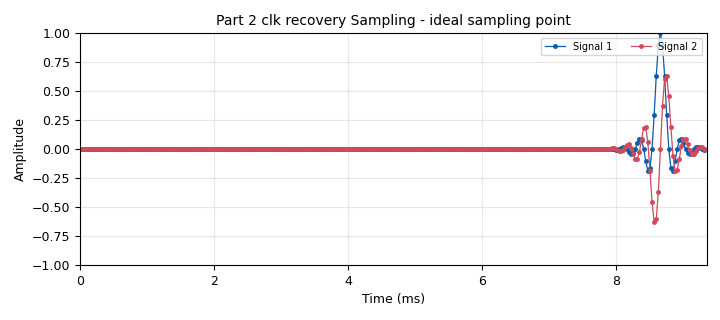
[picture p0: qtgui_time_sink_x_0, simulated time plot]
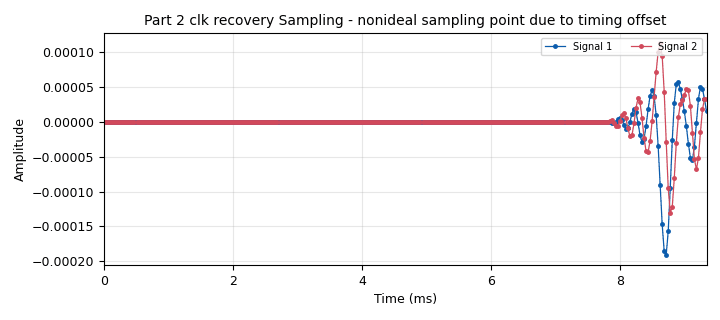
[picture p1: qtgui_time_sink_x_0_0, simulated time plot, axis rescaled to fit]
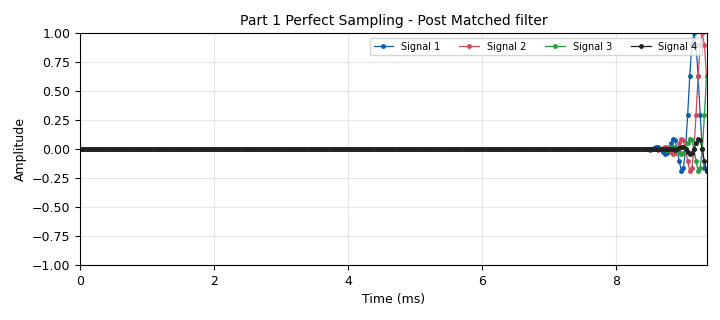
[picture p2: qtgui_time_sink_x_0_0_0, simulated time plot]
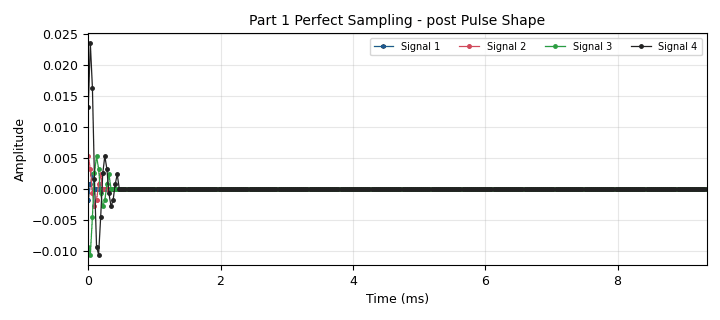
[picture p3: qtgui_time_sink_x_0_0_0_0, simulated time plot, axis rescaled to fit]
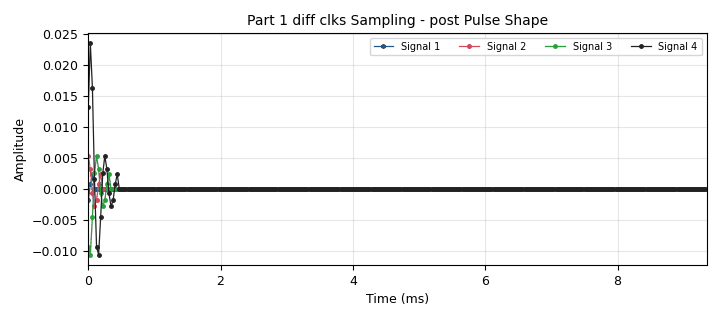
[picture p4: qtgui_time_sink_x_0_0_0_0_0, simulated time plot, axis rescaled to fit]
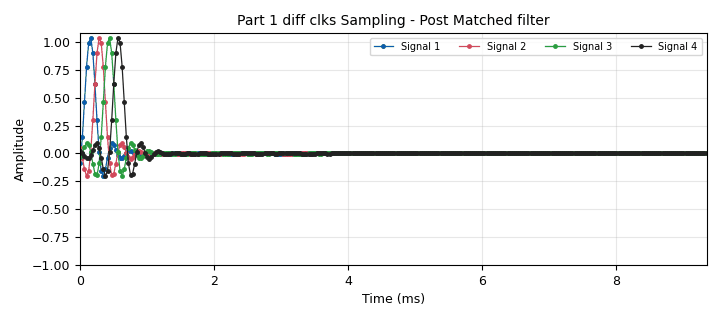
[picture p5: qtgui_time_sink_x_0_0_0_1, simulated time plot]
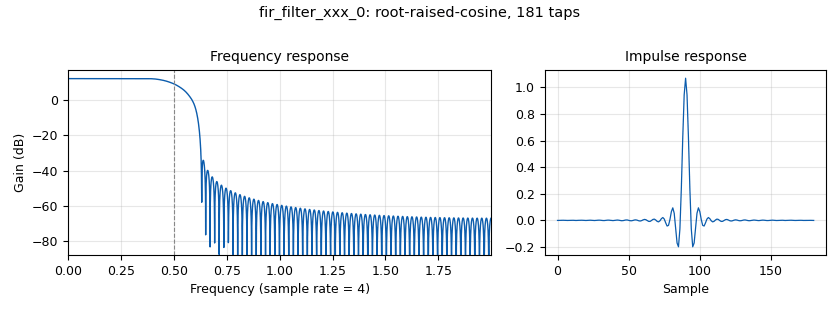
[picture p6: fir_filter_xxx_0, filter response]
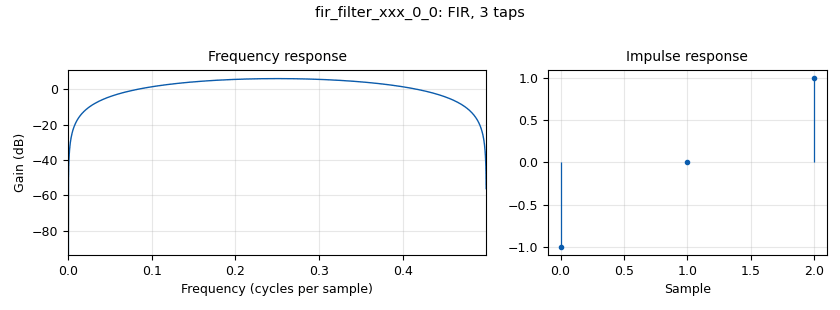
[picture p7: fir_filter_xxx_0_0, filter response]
options:
  parameters:
    author: engineerang
    generate_options: qt_gui
    id: symbol_sampling
    output_language: python
    title: Not titled yet
  states: {}

blocks:
- name: eb
  id: variable
  parameters:
    value: '0.25'
  states: {}
- name: ntaps
  id: variable
  parameters:
    value: '45'
  states: {}
- name: rate
  id: variable
  parameters:
    value: '1'
  states: {}
- name: rrc_rx
  id: variable
  parameters:
    value: firdes.root_raised_cosine(sps, sps, 1, eb, sps*ntaps)
  states: {}
- name: rrc_tx
  id: variable
  parameters:
    value: firdes.root_raised_cosine(1, sps, 1, eb, ntaps)
  states: {}
- name: samp_rate
  id: variable
  parameters:
    value: '32000'
  states: {}
- name: sps
  id: variable
  parameters:
    value: '4'
  states: {}
- name: blocks_delay_0
  id: blocks_delay
  parameters:
    delay: '1'
    type: float
  states: {}
- name: blocks_delay_0_0
  id: blocks_delay
  parameters:
    delay: '1'
    type: float
  states: {}
- name: blocks_throttle_0
  id: blocks_throttle
  parameters:
    samples_per_second: samp_rate
    type: float
  states: {}
- name: blocks_throttle_0_0
  id: blocks_throttle
  parameters:
    samples_per_second: samp_rate
    type: float
  states: {}
- name: blocks_throttle_0_0_0
  id: blocks_throttle
  parameters:
    samples_per_second: samp_rate
    type: float
  states: {}
- name: blocks_throttle_0_0_0_0
  id: blocks_throttle
  parameters:
    samples_per_second: samp_rate
    type: float
  states: {}
- name: blocks_throttle_0_0_1
  id: blocks_throttle
  parameters:
    samples_per_second: samp_rate
    type: float
  states: {}
- name: blocks_throttle_0_0_1_0
  id: blocks_throttle
  parameters:
    samples_per_second: samp_rate
    type: float
  states: {}
- name: blocks_throttle_0_0_2
  id: blocks_throttle
  parameters:
    samples_per_second: samp_rate
    type: float
  states: {}
- name: blocks_throttle_0_0_2_0
  id: blocks_throttle
  parameters:
    samples_per_second: samp_rate
    type: float
  states: {}
- name: blocks_throttle_0_0_3
  id: blocks_throttle
  parameters:
    samples_per_second: samp_rate
    type: float
  states: {}
- name: blocks_vector_source_x_0
  id: blocks_vector_source_x
  parameters:
    repeat: 'True'
    type: float
    vector: 49*[0,] + [1,] + 50*[0,]
  states: {}
- name: blocks_vector_source_x_0_0
  id: blocks_vector_source_x
  parameters:
    repeat: 'True'
    type: float
    vector: 49*[0,] + [1,] + 50*[0,]
  states: {}
- name: blocks_vector_source_x_0_0_0
  id: blocks_vector_source_x
  parameters:
    repeat: 'True'
    type: float
    vector: 50*[0,] + [1,] + 49*[0,]
  states: {}
- name: blocks_vector_source_x_0_0_0_0
  id: blocks_vector_source_x
  parameters:
    repeat: 'True'
    type: float
    vector: 50*[0,] + [1,] + 49*[0,]
  states: {}
- name: blocks_vector_source_x_0_0_1
  id: blocks_vector_source_x
  parameters:
    repeat: 'True'
    type: float
    vector: 51*[0,] + [1,] + 48*[0,]
  states: {}
- name: blocks_vector_source_x_0_0_1_0
  id: blocks_vector_source_x
  parameters:
    repeat: 'True'
    type: float
    vector: 51*[0,] + [1,] + 48*[0,]
  states: {}
- name: blocks_vector_source_x_0_0_2
  id: blocks_vector_source_x
  parameters:
    repeat: 'True'
    type: float
    vector: 52*[0,] + [1,] + 47*[0,]
  states: {}
- name: blocks_vector_source_x_0_0_2_0
  id: blocks_vector_source_x
  parameters:
    repeat: 'True'
    type: float
    vector: 52*[0,] + [1,] + 47*[0,]
  states: {}
- name: blocks_vector_source_x_0_0_3
  id: blocks_vector_source_x
  parameters:
    repeat: 'True'
    type: float
    vector: 49*[0,] + [1,] + 50*[0,]
  states: {}
- name: fir_filter_xxx_0
  id: fir_filter_xxx
  parameters:
    decim: '1'
    taps: rrc_rx
    type: fff
  states: {}
- name: fir_filter_xxx_0_0
  id: fir_filter_xxx
  parameters:
    decim: '1'
    taps: (-1,0,1)
    type: fff
  states: {}
- name: fir_filter_xxx_0_0_0
  id: fir_filter_xxx
  parameters:
    decim: '1'
    taps: (-1,0,1)
    type: fff
  states: {}
- name: fir_filter_xxx_0_1
  id: fir_filter_xxx
  parameters:
    decim: '1'
    taps: rrc_rx
    type: fff
  states: {}
- name: fir_filter_xxx_0_1_0
  id: fir_filter_xxx
  parameters:
    decim: '1'
    taps: rrc_rx
    type: fff
  states: {}
- name: fir_filter_xxx_0_1_0_0
  id: fir_filter_xxx
  parameters:
    decim: '1'
    taps: rrc_rx
    type: fff
  states: {}
- name: fir_filter_xxx_0_1_1
  id: fir_filter_xxx
  parameters:
    decim: '1'
    taps: rrc_rx
    type: fff
  states: {}
- name: fir_filter_xxx_0_1_1_0
  id: fir_filter_xxx
  parameters:
    decim: '1'
    taps: rrc_rx
    type: fff
  states: {}
- name: fir_filter_xxx_0_1_2
  id: fir_filter_xxx
  parameters:
    decim: '1'
    taps: rrc_rx
    type: fff
  states: {}
- name: fir_filter_xxx_0_1_2_0
  id: fir_filter_xxx
  parameters:
    decim: '1'
    taps: rrc_rx
    type: fff
  states: {}
- name: fir_filter_xxx_0_1_3
  id: fir_filter_xxx
  parameters:
    decim: '1'
    taps: rrc_rx
    type: fff
  states: {}
- name: fir_filter_xxx_0_2
  id: fir_filter_xxx
  parameters:
    decim: '1'
    taps: rrc_rx
    type: fff
  states: {}
- name: interp_fir_filter_xxx_0
  id: interp_fir_filter_xxx
  parameters:
    interp: sps
    taps: rrc_tx
    type: fff
  states: {}
- name: interp_fir_filter_xxx_0_0
  id: interp_fir_filter_xxx
  parameters:
    interp: sps
    taps: rrc_tx
    type: fff
  states: {}
- name: interp_fir_filter_xxx_0_0_0
  id: interp_fir_filter_xxx
  parameters:
    interp: sps
    taps: rrc_tx
    type: fff
  states: {}
- name: interp_fir_filter_xxx_0_0_0_0
  id: interp_fir_filter_xxx
  parameters:
    interp: sps
    taps: rrc_tx
    type: fff
  states: {}
- name: interp_fir_filter_xxx_0_0_1
  id: interp_fir_filter_xxx
  parameters:
    interp: sps
    taps: rrc_tx
    type: fff
  states: {}
- name: interp_fir_filter_xxx_0_0_1_0
  id: interp_fir_filter_xxx
  parameters:
    interp: sps
    taps: rrc_tx
    type: fff
  states: {}
- name: interp_fir_filter_xxx_0_0_2
  id: interp_fir_filter_xxx
  parameters:
    interp: sps
    taps: rrc_tx
    type: fff
  states: {}
- name: interp_fir_filter_xxx_0_0_2_0
  id: interp_fir_filter_xxx
  parameters:
    interp: sps
    taps: rrc_tx
    type: fff
  states: {}
- name: interp_fir_filter_xxx_0_0_3
  id: interp_fir_filter_xxx
  parameters:
    interp: sps
    taps: rrc_tx
    type: fff
  states: {}
- name: pfb_arb_resampler_xxx_0
  id: pfb_arb_resampler_xxx
  parameters:
    atten: '100'
    nfilts: '32'
    rrate: '1'
    type: fff
  states: {}
- name: pfb_arb_resampler_xxx_0_0
  id: pfb_arb_resampler_xxx
  parameters:
    atten: '100'
    nfilts: '32'
    rrate: '1.25'
    type: fff
  states: {}
- name: pfb_arb_resampler_xxx_1
  id: pfb_arb_resampler_xxx
  parameters:
    atten: '100'
    nfilts: '32'
    type: ccf
  states: {state: disabled}
- name: pfb_arb_resampler_xxx_2
  id: pfb_arb_resampler_xxx
  parameters:
    atten: '100'
    nfilts: '32'
    rrate: '1.125'
    type: fff
  states: {}
- name: pfb_arb_resampler_xxx_2_0
  id: pfb_arb_resampler_xxx
  parameters:
    atten: '100'
    nfilts: '32'
    rrate: '1.125'
    type: fff
  states: {}
- name: pfb_arb_resampler_xxx_2_1
  id: pfb_arb_resampler_xxx
  parameters:
    atten: '100'
    nfilts: '32'
    rrate: '1.125'
    type: fff
  states: {}
- name: pfb_arb_resampler_xxx_2_2
  id: pfb_arb_resampler_xxx
  parameters:
    atten: '100'
    nfilts: '32'
    rrate: '1.125'
    type: fff
  states: {}
- name: qtgui_time_sink_x_0
  id: qtgui_time_sink_x
  parameters:
    gui_hint: 2,0,1,1
    marker1: '0'
    marker2: '0'
    name: Part 2 clk recovery Sampling - ideal sampling point
    nconnections: '2'
    size: '300'
    srate: samp_rate
    tr_mode: qtgui.TRIG_MODE_AUTO
    type: float
  states: {}
- name: qtgui_time_sink_x_0_0
  id: qtgui_time_sink_x
  parameters:
    gui_hint: 2,1,1,1
    marker1: '0'
    marker2: '0'
    name: Part 2 clk recovery Sampling - nonideal sampling point due to timing offset
    nconnections: '2'
    size: '300'
    srate: samp_rate
    tr_mode: qtgui.TRIG_MODE_AUTO
    type: float
  states: {}
- name: qtgui_time_sink_x_0_0_0
  id: qtgui_time_sink_x
  parameters:
    gui_hint: 0,1,1,1
    marker1: '0'
    marker2: '0'
    marker3: '0'
    marker4: '0'
    name: '"Part 1 Perfect Sampling - Post Matched filter"'
    nconnections: '4'
    size: '300'
    srate: samp_rate
    tr_mode: qtgui.TRIG_MODE_AUTO
    type: float
    update_time: '0.01'
  states: {}
- name: qtgui_time_sink_x_0_0_0_0
  id: qtgui_time_sink_x
  parameters:
    gui_hint: 0,0,1,1
    marker1: '0'
    marker2: '0'
    marker3: '0'
    marker4: '0'
    name: '"Part 1 Perfect Sampling - post Pulse Shape"'
    nconnections: '4'
    size: '300'
    srate: samp_rate
    tr_mode: qtgui.TRIG_MODE_AUTO
    type: float
  states: {}
- name: qtgui_time_sink_x_0_0_0_0_0
  id: qtgui_time_sink_x
  parameters:
    gui_hint: 1,0,1,1
    marker1: '0'
    marker2: '0'
    marker3: '0'
    marker4: '0'
    name: '"Part 1 diff clks Sampling - post Pulse Shape"'
    nconnections: '4'
    size: '300'
    srate: samp_rate
    tr_mode: qtgui.TRIG_MODE_AUTO
    type: float
  states: {}
- name: qtgui_time_sink_x_0_0_0_1
  id: qtgui_time_sink_x
  parameters:
    gui_hint: 1,1,1,1
    marker1: '0'
    marker2: '0'
    marker3: '0'
    marker4: '0'
    name: '"Part 1 diff clks Sampling - Post Matched filter"'
    nconnections: '4'
    size: '300'
    srate: samp_rate
    tr_mode: qtgui.TRIG_MODE_AUTO
    type: float
    update_time: '0.01'
  states: {}

connections:
- [blocks_delay_0, '0', qtgui_time_sink_x_0, '0']
- [blocks_delay_0_0, '0', qtgui_time_sink_x_0_0, '0']
- [blocks_throttle_0, '0', interp_fir_filter_xxx_0, '0']
- [blocks_throttle_0_0, '0', interp_fir_filter_xxx_0_0, '0']
- [blocks_throttle_0_0_0, '0', interp_fir_filter_xxx_0_0_0, '0']
- [blocks_throttle_0_0_0_0, '0', interp_fir_filter_xxx_0_0_0_0, '0']
- [blocks_throttle_0_0_1, '0', interp_fir_filter_xxx_0_0_1, '0']
- [blocks_throttle_0_0_1_0, '0', interp_fir_filter_xxx_0_0_1_0, '0']
- [blocks_throttle_0_0_2, '0', interp_fir_filter_xxx_0_0_2, '0']
- [blocks_throttle_0_0_2_0, '0', interp_fir_filter_xxx_0_0_2_0, '0']
- [blocks_throttle_0_0_3, '0', interp_fir_filter_xxx_0_0_3, '0']
- [blocks_vector_source_x_0, '0', blocks_throttle_0, '0']
- [blocks_vector_source_x_0_0, '0', blocks_throttle_0_0, '0']
- [blocks_vector_source_x_0_0_0, '0', blocks_throttle_0_0_0, '0']
- [blocks_vector_source_x_0_0_0_0, '0', blocks_throttle_0_0_0_0, '0']
- [blocks_vector_source_x_0_0_1, '0', blocks_throttle_0_0_1, '0']
- [blocks_vector_source_x_0_0_1_0, '0', blocks_throttle_0_0_1_0, '0']
- [blocks_vector_source_x_0_0_2, '0', blocks_throttle_0_0_2, '0']
- [blocks_vector_source_x_0_0_2_0, '0', blocks_throttle_0_0_2_0, '0']
- [blocks_vector_source_x_0_0_3, '0', blocks_throttle_0_0_3, '0']
- [fir_filter_xxx_0, '0', blocks_delay_0, '0']
- [fir_filter_xxx_0, '0', fir_filter_xxx_0_0, '0']
- [fir_filter_xxx_0_0, '0', qtgui_time_sink_x_0, '1']
- [fir_filter_xxx_0_0_0, '0', qtgui_time_sink_x_0_0, '1']
- [fir_filter_xxx_0_1, '0', qtgui_time_sink_x_0_0_0, '0']
- [fir_filter_xxx_0_1_0, '0', qtgui_time_sink_x_0_0_0, '3']
- [fir_filter_xxx_0_1_0_0, '0', qtgui_time_sink_x_0_0_0_1, '3']
- [fir_filter_xxx_0_1_1, '0', qtgui_time_sink_x_0_0_0, '1']
- [fir_filter_xxx_0_1_1_0, '0', qtgui_time_sink_x_0_0_0_1, '1']
- [fir_filter_xxx_0_1_2, '0', qtgui_time_sink_x_0_0_0, '2']
- [fir_filter_xxx_0_1_2_0, '0', qtgui_time_sink_x_0_0_0_1, '2']
- [fir_filter_xxx_0_1_3, '0', qtgui_time_sink_x_0_0_0_1, '0']
- [fir_filter_xxx_0_2, '0', blocks_delay_0_0, '0']
- [fir_filter_xxx_0_2, '0', fir_filter_xxx_0_0_0, '0']
- [interp_fir_filter_xxx_0, '0', pfb_arb_resampler_xxx_0, '0']
- [interp_fir_filter_xxx_0, '0', pfb_arb_resampler_xxx_0_0, '0']
- [interp_fir_filter_xxx_0_0, '0', fir_filter_xxx_0_1, '0']
- [interp_fir_filter_xxx_0_0, '0', qtgui_time_sink_x_0_0_0_0, '0']
- [interp_fir_filter_xxx_0_0_0, '0', fir_filter_xxx_0_1_1, '0']
- [interp_fir_filter_xxx_0_0_0, '0', qtgui_time_sink_x_0_0_0_0, '1']
- [interp_fir_filter_xxx_0_0_0_0, '0', pfb_arb_resampler_xxx_2_1, '0']
- [interp_fir_filter_xxx_0_0_0_0, '0', qtgui_time_sink_x_0_0_0_0_0, '1']
- [interp_fir_filter_xxx_0_0_1, '0', fir_filter_xxx_0_1_2, '0']
- [interp_fir_filter_xxx_0_0_1, '0', qtgui_time_sink_x_0_0_0_0, '2']
- [interp_fir_filter_xxx_0_0_1_0, '0', pfb_arb_resampler_xxx_2_2, '0']
- [interp_fir_filter_xxx_0_0_1_0, '0', qtgui_time_sink_x_0_0_0_0_0, '2']
- [interp_fir_filter_xxx_0_0_2, '0', fir_filter_xxx_0_1_0, '0']
- [interp_fir_filter_xxx_0_0_2, '0', qtgui_time_sink_x_0_0_0_0, '3']
- [interp_fir_filter_xxx_0_0_2_0, '0', pfb_arb_resampler_xxx_2_0, '0']
- [interp_fir_filter_xxx_0_0_2_0, '0', qtgui_time_sink_x_0_0_0_0_0, '3']
- [interp_fir_filter_xxx_0_0_3, '0', pfb_arb_resampler_xxx_2, '0']
- [interp_fir_filter_xxx_0_0_3, '0', qtgui_time_sink_x_0_0_0_0_0, '0']
- [pfb_arb_resampler_xxx_0, '0', fir_filter_xxx_0, '0']
- [pfb_arb_resampler_xxx_0_0, '0', fir_filter_xxx_0_2, '0']
- [pfb_arb_resampler_xxx_2, '0', fir_filter_xxx_0_1_3, '0']
- [pfb_arb_resampler_xxx_2_0, '0', fir_filter_xxx_0_1_0_0, '0']
- [pfb_arb_resampler_xxx_2_1, '0', fir_filter_xxx_0_1_1_0, '0']
- [pfb_arb_resampler_xxx_2_2, '0', fir_filter_xxx_0_1_2_0, '0']

metadata:
  file_format: 1
